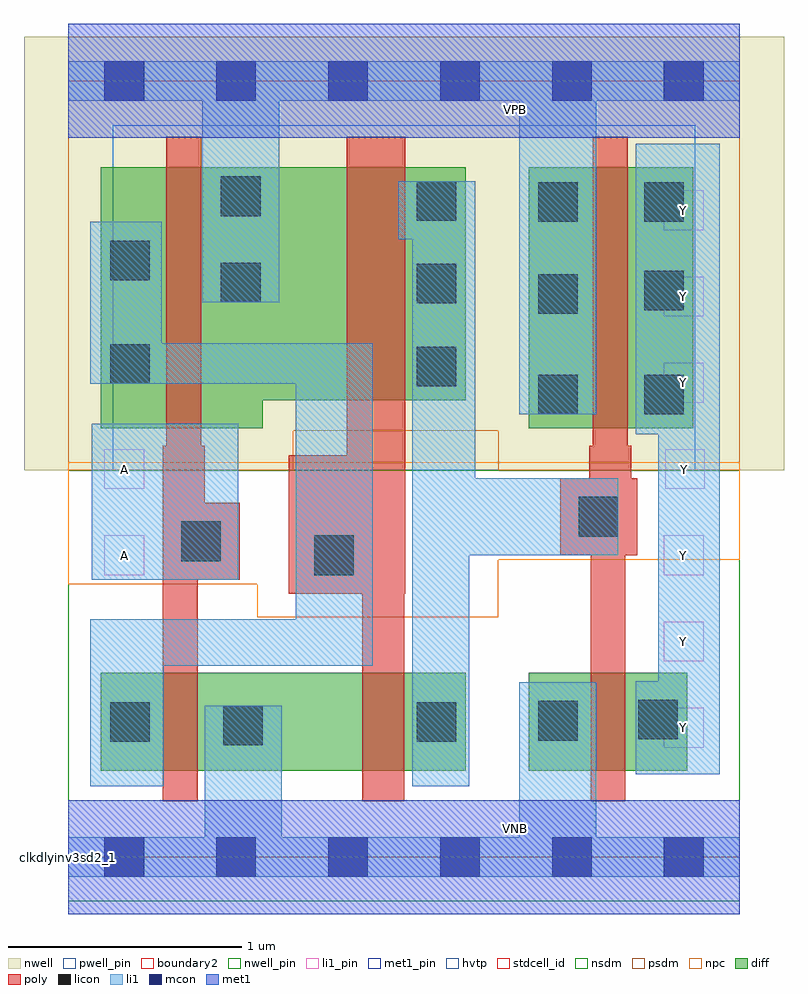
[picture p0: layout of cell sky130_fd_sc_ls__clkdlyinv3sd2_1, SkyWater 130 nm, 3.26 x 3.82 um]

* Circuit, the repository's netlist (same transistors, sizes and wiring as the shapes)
* Copyright 2020 The SkyWater PDK Authors
*
* Licensed under the Apache License, Version 2.0 (the "License");
* you may not use this file except in compliance with the License.
* You may obtain a copy of the License at
*
*     https://www.apache.org/licenses/LICENSE-2.0
*
* Unless required by applicable law or agreed to in writing, software
* distributed under the License is distributed on an "AS IS" BASIS,
* WITHOUT WARRANTIES OR CONDITIONS OF ANY KIND, either express or implied.
* See the License for the specific language governing permissions and
* limitations under the License.
*
* SPDX-License-Identifier: Apache-2.0

.SUBCKT sky130_fd_sc_ls__clkdlyinv3sd2_1 A VGND VNB VPB VPWR Y
*.PININFO A:I VGND:I VNB:I VPB:I VPWR:I Y:O
MMIN1 Abb Ab VGND VNB sky130_fd_pr__nfet_01v8 m=1 w=0.42U l=0.18U mult=1 sa=0.265
+ sb=0.265 sd=0.28 area=0.063 perim=1.14
MMIN2 Y Abb VGND VNB sky130_fd_pr__nfet_01v8 m=1 w=0.42U l=0.15U mult=1 sa=0.265
+ sb=0.265 sd=0.28 area=0.063 perim=1.14
MI9 Ab A VGND VNB sky130_fd_pr__nfet_01v8 m=1 w=0.42U l=0.15U mult=1 sa=0.265 sb=0.265
+ sd=0.28 area=0.063 perim=1.14
MMIP1 Abb Ab VPWR VPB sky130_fd_pr__pfet_01v8_hvt m=1 w=1.0U l=0.25U mult=1 sa=0.265
+ sb=0.265 sd=0.28 area=0.063 perim=1.14
MMIP2 Y Abb VPWR VPB sky130_fd_pr__pfet_01v8_hvt m=1 w=1.12U l=0.15U mult=1 sa=0.265
+ sb=0.265 sd=0.28 area=0.063 perim=1.14
MI8 Ab A VPWR VPB sky130_fd_pr__pfet_01v8_hvt m=1 w=1.12U l=0.15U mult=1 sa=0.265
+ sb=0.265 sd=0.28 area=0.063 perim=1.14
.ENDS sky130_fd_sc_ls__clkdlyinv3sd2_1

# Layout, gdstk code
import gdstk
lib = gdstk.Library(unit=1e-6, precision=1e-09)
def R(c, l, rs):  # rectangles x0, y0, x1, y1
    for r in rs: c.add(gdstk.rectangle(r[:2], r[2:], *l))
def A(c, l, x, y, w, h, nx, ny, dx, dy):  # array of equal rectangles
    R(c, l, [(x+i*dx, y+j*dy, x+i*dx+w, y+j*dy+h) for i in range(nx) for j in range(ny)])
def P(c, l, *ps):  # polygons
    for p in ps: c.add(gdstk.Polygon(p, *l))
nwell_pin = (64, 16)
nwell = (64, 20)
diff = (65, 20)
poly = (66, 20)
licon = (66, 44)
li1_pin = (67, 16)
li1 = (67, 20)
mcon = (67, 44)
met1_pin = (68, 16)
met1 = (68, 20)
hvtp = (78, 44)
stdcell_id = (81, 4)
nsdm = (93, 44)
psdm = (94, 20)
npc = (95, 20)
pwell_pin = (122, 16)
boundary2 = (236, 0)

sky130_fd_sc_ls__clkdlyi = lib.new_cell('sky130_fd_sc_ls__clkdlyinv3sd2_1')
R(sky130_fd_sc_ls__clkdlyi, nwell_pin, [(0,3.085,2.88,3.33)])
R(sky130_fd_sc_ls__clkdlyi, nwell, [(-0.19,1.66,3.07,3.52)])
R(sky130_fd_sc_ls__clkdlyi, diff, [(0.14,0.37,1.705,0.79), (1.975,0.37,2.655,0.79), (1.975,1.84,2.68,2.96)])
P(sky130_fd_sc_ls__clkdlyi, diff, [(1.705,2.96),(0.14,2.96),(0.14,1.84),(0.835,1.84),(0.835,1.96),(1.705,1.96)])
P(sky130_fd_sc_ls__clkdlyi, poly, [(2.44,1.625),(2.415,1.625),(2.415,1.765),(2.4,1.765),(2.4,3.09),(2.25,3.09),(2.25,1.765),(2.235,1.765),(2.235,1.625),(2.11,1.625),(2.11,1.295),(2.24,1.295),(2.24,0.24),(2.39,0.24),(2.39,1.295),(2.44,1.295)],
  [(1.445,3.09),(1.195,3.09),(1.195,1.725),(0.945,1.725),(0.945,1.13),(1.26,1.13),(1.26,0.24),(1.44,0.24),(1.44,1.13),(1.445,1.13)],
  [(0.735,1.52),(0.585,1.52),(0.585,1.765),(0.57,1.765),(0.57,3.09),(0.42,3.09),(0.42,1.765),(0.405,1.765),(0.405,0.24),(0.555,0.24),(0.555,1.19),(0.735,1.19)])
A(sky130_fd_sc_ls__clkdlyi, licon, 1.495, 2.02, 0.17, 0.17, 1, 3, 0, 0.355)
R(sky130_fd_sc_ls__clkdlyi, licon, [(0.665,0.48,0.835,0.65), (0.18,0.495,0.35,0.665), (1.495,0.495,1.665,0.665), (2.015,0.5,2.185,0.67), (2.445,0.505,2.615,0.675), (1.055,1.21,1.225,1.38), (0.485,1.27,0.655,1.44), (2.19,1.375,2.36,1.545), (2.015,1.9,2.185,2.07), (2.47,1.9,2.64,2.07), (0.18,2.03,0.35,2.2), (2.015,2.33,2.185,2.5), (2.47,2.345,2.64,2.515), (0.655,2.38,0.825,2.55), (0.18,2.475,0.35,2.645), (2.015,2.725,2.185,2.895), (2.47,2.725,2.64,2.895), (0.655,2.75,0.825,2.92)])
A(sky130_fd_sc_ls__clkdlyi, li1_pin, 2.555, 0.47, 0.17, 0.17, 1, 3, 0, 0.37)
A(sky130_fd_sc_ls__clkdlyi, li1_pin, 2.555, 1.95, 0.17, 0.17, 1, 3, 0, 0.37)
R(sky130_fd_sc_ls__clkdlyi, li1_pin, [(0.155,1.21,0.325,1.38), (0.155,1.58,0.325,1.75), (2.56,1.58,2.73,1.75)])
R(sky130_fd_sc_ls__clkdlyi, li1, [(0.1,1.19,0.73,1.86)])
P(sky130_fd_sc_ls__clkdlyi, li1, [(1.305,2.205),(0.4,2.205),(0.4,2.725),(0.095,2.725),(0.095,2.03),(0.975,2.03),(0.975,1.02),(0.095,1.02),(0.095,0.305),(0.41,0.305),(0.41,0.82),(1.305,0.82)],
  [(2.36,1.625),(1.745,1.625),(1.745,2.9),(1.415,2.9),(1.415,2.65),(1.475,2.65),(1.475,0.305),(1.72,0.305),(1.72,1.295),(2.36,1.295)],
  [(2.88,3.415),(0,3.415),(0,3.245),(0.575,3.245),(0.575,2.38),(0.905,2.38),(0.905,3.245),(1.935,3.245),(1.935,1.9),(2.265,1.9),(2.265,3.245),(2.88,3.245)],
  [(2.88,0.085),(2.265,0.085),(2.265,0.75),(1.935,0.75),(1.935,0.085),(0.915,0.085),(0.915,0.65),(0.585,0.65),(0.585,0.085),(0,0.085),(0,-0.085),(2.88,-0.085)],
  [(2.795,3.06),(2.435,3.06),(2.435,1.815),(2.53,1.815),(2.53,0.755),(2.435,0.755),(2.435,0.355),(2.795,0.355)])
A(sky130_fd_sc_ls__clkdlyi, mcon, 0.155, -0.085, 0.17, 0.17, 6, 2, 0.48, 3.33)
R(sky130_fd_sc_ls__clkdlyi, met1_pin, [(0,0,2.88,0.245), (0,3.085,2.88,3.33)])
R(sky130_fd_sc_ls__clkdlyi, met1, [(0,-0.245,2.88,0.245), (0,3.085,2.88,3.575)])
R(sky130_fd_sc_ls__clkdlyi, hvtp, [(0.19,1.66,2.69,3.14)])
R(sky130_fd_sc_ls__clkdlyi, stdcell_id, [(0,0,2.88,3.33)])
R(sky130_fd_sc_ls__clkdlyi, nsdm, [(0,-0.19,2.88,1.66)])
P(sky130_fd_sc_ls__clkdlyi, psdm, [(2.88,3.52),(0,3.52),(0,1.66),(0.965,1.66),(0.965,1.83),(1.845,1.83),(1.845,1.66),(2.88,1.66)])
P(sky130_fd_sc_ls__clkdlyi, npc, [(2.88,1.695),(0,1.695),(0,1.17),(0.81,1.17),(0.81,1.03),(1.845,1.03),(1.845,1.275),(2.88,1.275)])
R(sky130_fd_sc_ls__clkdlyi, pwell_pin, [(0,0,2.88,0.245)])
R(sky130_fd_sc_ls__clkdlyi, boundary2, [(0,0,2.88,3.33)])
sky130_fd_sc_ls__clkdlyi.add(gdstk.Label('clkdlyinv3sd2_1', (0,0), layer=83, texttype=44))
sky130_fd_sc_ls__clkdlyi.add(gdstk.Label('VNB', (1.92,0.123), layer=64, texttype=59))
sky130_fd_sc_ls__clkdlyi.add(gdstk.Label('VPB', (1.92,3.208), layer=64, texttype=5))
sky130_fd_sc_ls__clkdlyi.add(gdstk.Label('VGND', (1.92,0.123), layer=68, texttype=5))
sky130_fd_sc_ls__clkdlyi.add(gdstk.Label('VPWR', (1.92,3.208), layer=68, texttype=5))
sky130_fd_sc_ls__clkdlyi.add(gdstk.Label('A', (0.24,1.295), layer=67, texttype=5))
sky130_fd_sc_ls__clkdlyi.add(gdstk.Label('A', (0.24,1.665), layer=67, texttype=5))
sky130_fd_sc_ls__clkdlyi.add(gdstk.Label('Y', (2.645,1.665), layer=67, texttype=5))
sky130_fd_sc_ls__clkdlyi.add(gdstk.Label('Y', (2.64,2.405), layer=67, texttype=5))
sky130_fd_sc_ls__clkdlyi.add(gdstk.Label('Y', (2.64,2.035), layer=67, texttype=5))
sky130_fd_sc_ls__clkdlyi.add(gdstk.Label('Y', (2.64,0.925), layer=67, texttype=5))
sky130_fd_sc_ls__clkdlyi.add(gdstk.Label('Y', (2.64,0.555), layer=67, texttype=5))
sky130_fd_sc_ls__clkdlyi.add(gdstk.Label('Y', (2.64,1.295), layer=67, texttype=5))
sky130_fd_sc_ls__clkdlyi.add(gdstk.Label('Y', (2.64,2.775), layer=67, texttype=5))

lib.write_gds('sky130_fd_sc_ls__clkdlyinv3sd2_1.gds')
